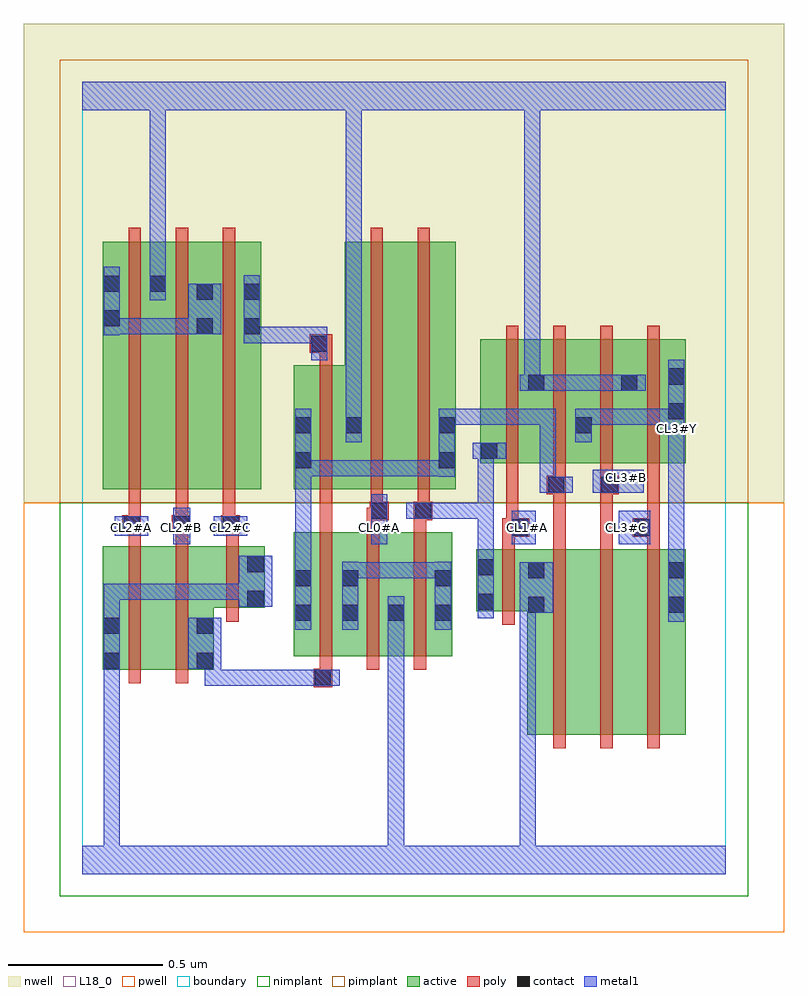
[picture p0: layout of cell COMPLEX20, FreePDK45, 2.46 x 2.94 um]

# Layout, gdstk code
import gdstk
lib = gdstk.Library(unit=1e-6, precision=1e-09)
def R(c, l, rs):  # rectangles x0, y0, x1, y1
    for r in rs: c.add(gdstk.rectangle(r[:2], r[2:], *l))
def A(c, l, x, y, w, h, nx, ny, dx, dy):  # array of equal rectangles
    R(c, l, [(x+i*dx, y+j*dy, x+i*dx+w, y+j*dy+h) for i in range(nx) for j in range(ny)])
active = (1, 0)
pwell = (2, 0)
nwell = (3, 0)
nimplant = (4, 0)
pimplant = (5, 0)
poly = (9, 0)
contact = (10, 0)
metal1 = (11, 0)
L18_0 = (18, 0)
boundary = (235, 0)

complex20 = lib.new_cell('COMPLEX20')
R(complex20, active, [(1.438,0.45,1.498,1.05), (1.438,0.45,1.618,1.05), (1.618,0.45,1.77,1.05), (1.77,0.45,1.95,1.05), (1.89,0.45,1.95,1.05), (0.066,0.66,0.126,1.06), (0.066,0.66,0.246,1.06), (0.246,0.66,0.426,1.06), (0.366,0.66,0.426,0.956), (0.684,0.704,0.744,1.104), (0.684,0.704,0.896,1.104), (0.836,0.704,0.896,1.104), (0.836,0.704,1.044,1.104), (0.984,0.704,1.196,1.104), (0.984,0.704,1.044,0.874), (1.136,0.704,1.196,1.104), (1.274,0.85,1.498,1.05), (1.274,0.85,1.334,1.05), (0.366,0.86,0.59,1.06), (0.53,0.86,0.59,1.06), (0.066,1.244,0.126,2.044), (0.066,1.244,0.274,2.044), (0.214,1.244,0.426,2.044), (0.366,1.244,0.578,2.044), (0.518,1.244,0.578,2.044), (0.684,1.244,0.744,1.644), (0.684,1.244,0.908,1.644), (0.848,1.244,0.908,1.644), (0.848,1.244,1.028,2.044), (1.028,1.244,1.208,2.044), (1.148,1.244,1.208,2.044), (1.286,1.328,1.498,1.728), (1.286,1.328,1.346,1.644), (1.438,1.328,1.65,1.728), (1.59,1.328,1.798,1.728), (1.738,1.328,1.95,1.728), (1.89,1.328,1.95,1.728), (1.59,1.42,1.65,1.728), (1.438,1.558,1.498,1.728), (1.738,1.558,1.798,1.728), (0.214,1.686,0.274,2.044), (0.366,1.686,0.426,2.044)])
R(complex20, pwell, [(-0.188,-0.188,2.268,1.2)])
R(complex20, nwell, [(-0.188,1.2,2.268,2.748)])
R(complex20, nimplant, [(-0.072,-0.072,2.152,1.2)])
R(complex20, pimplant, [(-0.072,1.2,2.152,2.632)])
A(complex20, poly, 1.522, 0.406, 0.04, 0.688, 3, 1, 0.152, 0)
A(complex20, poly, 0.768, 0.66, 0.04, 0.488, 3, 1, 0.152, 0)
A(complex20, poly, 0.13, 1.1, 0.06, 0.06, 3, 1, 0.16, 0)
A(complex20, poly, 0.768, 1.108, 0.04, 0.076, 3, 1, 0.152, 0)
A(complex20, poly, 0.15, 1.12, 0.04, 0.12, 3, 1, 0.152, 0)
A(complex20, poly, 0.15, 1.2, 0.04, 0.888, 3, 1, 0.152, 0)
A(complex20, poly, 1.37, 1.284, 0.04, 0.488, 4, 1, 0.152, 0)
R(complex20, poly, [(0.748,0.604,0.808,0.664), (0.15,0.616,0.19,1.104), (0.302,0.616,0.342,1.104), (0.768,0.624,0.808,0.7), (1.358,0.806,1.398,1.094), (0.466,0.816,0.506,1.104), (1.358,1.054,1.398,1.13), (1.522,1.054,1.562,1.268), (1.674,1.054,1.714,1.268), (1.826,1.054,1.866,1.13), (0.15,1.064,0.19,1.14), (0.302,1.064,0.342,1.14), (0.466,1.064,0.506,1.14), (1.358,1.09,1.444,1.15), (1.78,1.09,1.866,1.15), (0.15,1.1,0.19,1.14), (0.15,1.1,0.19,1.14), (0.302,1.1,0.342,1.14), (0.302,1.1,0.342,1.14), (0.466,1.1,0.506,1.14), (0.466,1.1,0.506,1.14), (1.37,1.11,1.41,1.324), (1.37,1.11,1.41,1.15), (1.37,1.11,1.41,1.15), (1.826,1.11,1.866,1.324), (1.826,1.11,1.866,1.15), (1.826,1.11,1.866,1.15), (0.768,1.144,0.808,1.184), (0.768,1.144,0.808,1.184), (0.768,1.144,0.808,1.184), (0.768,1.144,0.808,1.24), (0.92,1.144,0.97,1.184), (0.93,1.144,0.97,1.184), (0.93,1.144,0.99,1.204), (1.072,1.144,1.132,1.204), (0.932,1.164,0.972,1.24), (1.084,1.164,1.124,1.204), (1.084,1.164,1.124,1.204), (1.084,1.164,1.124,1.24), (0.768,1.2,0.808,1.688), (0.932,1.2,0.972,2.088), (1.084,1.2,1.124,2.088), (1.502,1.228,1.562,1.288), (1.522,1.228,1.562,1.268), (1.522,1.228,1.562,1.268), (1.674,1.228,1.714,1.268), (1.674,1.228,1.714,1.268), (1.674,1.228,1.734,1.288), (1.522,1.248,1.562,1.324), (1.674,1.248,1.714,1.324), (0.768,1.648,0.808,1.724), (0.736,1.684,0.808,1.744)])
A(complex20, contact, 0.134, 1.104, 0.052, 0.052, 3, 1, 0.16, 0)
R(complex20, contact, [(0.752,0.608,0.804,0.66), (0.07,0.664,0.122,0.716), (0.37,0.664,0.422,0.716), (0.07,0.776,0.122,0.828), (0.37,0.776,0.422,0.828), (0.688,0.818,0.74,0.87), (0.84,0.818,0.892,0.87), (0.988,0.818,1.04,0.87), (1.14,0.818,1.192,0.87), (1.442,0.844,1.494,0.896), (1.894,0.844,1.946,0.896), (1.278,0.854,1.33,0.906), (0.534,0.864,0.586,0.916), (0.688,0.93,0.74,0.982), (0.84,0.93,0.892,0.982), (1.14,0.93,1.192,0.982), (1.442,0.956,1.494,1.008), (1.894,0.956,1.946,1.008), (1.278,0.966,1.33,1.018), (0.534,0.976,0.586,1.028), (1.388,1.094,1.44,1.146), (1.784,1.094,1.836,1.146), (0.934,1.148,0.986,1.2), (1.076,1.148,1.128,1.2), (1.506,1.232,1.558,1.284), (1.678,1.232,1.73,1.284), (0.688,1.312,0.74,1.364), (1.152,1.312,1.204,1.364), (1.29,1.342,1.342,1.394), (0.688,1.424,0.74,1.476), (0.852,1.424,0.904,1.476), (1.152,1.424,1.204,1.476), (1.594,1.424,1.646,1.476), (1.894,1.47,1.946,1.522), (1.442,1.562,1.494,1.614), (1.742,1.562,1.794,1.614), (1.894,1.582,1.946,1.634), (0.74,1.688,0.792,1.74), (0.37,1.744,0.422,1.796), (0.522,1.744,0.574,1.796), (0.07,1.77,0.122,1.822), (0.37,1.856,0.422,1.908), (0.522,1.856,0.574,1.908), (0.07,1.882,0.122,1.934), (0.218,1.882,0.27,1.934)])
R(complex20, metal1, [(0,0,2.08,0.092), (0.07,0.04,0.122,0.092), (0.07,0.04,0.122,0.092), (0.07,0.04,0.122,0.092), (0.07,0.04,0.122,0.092), (0.07,0.04,0.122,0.092), (0.07,0.04,0.122,0.092), (0.07,0.04,0.122,0.688), (0.988,0.04,1.04,0.842), (1.414,0.04,1.466,0.092), (1.414,0.04,1.466,0.092), (1.414,0.04,1.466,0.092), (1.414,0.04,1.466,0.092), (1.414,0.04,1.466,0.092), (1.414,0.04,1.466,0.092), (1.414,0.04,1.466,0.896), (0.396,0.608,0.448,0.66), (0.396,0.608,0.448,0.66), (0.396,0.608,0.448,0.66), (0.396,0.608,0.448,0.716), (0.396,0.608,0.584,0.66), (0.532,0.608,0.584,0.66), (0.532,0.608,0.584,0.66), (0.532,0.608,0.584,0.66), (0.532,0.608,0.776,0.66), (0.724,0.608,0.832,0.66), (0.07,0.636,0.122,0.688), (0.07,0.636,0.122,0.688), (0.07,0.636,0.122,0.688), (0.07,0.636,0.122,0.688), (0.07,0.636,0.122,0.688), (0.07,0.636,0.122,0.688), (0.07,0.636,0.122,0.856), (0.342,0.664,0.45,0.828), (0.688,0.79,0.74,1.01), (0.84,0.79,0.892,1.01), (0.988,0.79,1.04,0.842), (0.988,0.79,1.04,0.842), (0.988,0.79,1.04,0.842), (0.988,0.79,1.04,0.842), (0.988,0.79,1.04,0.842), (0.988,0.79,1.04,0.842), (0.988,0.79,1.04,0.842), (0.988,0.79,1.04,0.842), (0.988,0.79,1.04,0.842), (0.988,0.79,1.04,0.842), (0.988,0.79,1.04,0.842), (0.988,0.79,1.04,0.842), (0.988,0.79,1.04,0.898), (1.14,0.79,1.192,1.01), (0.07,0.804,0.122,0.856), (0.07,0.804,0.122,0.856), (0.07,0.804,0.122,0.856), (0.07,0.804,0.122,0.856), (0.07,0.804,0.122,0.938), (1.894,0.816,1.946,1.036), (1.278,0.826,1.33,1.046), (1.414,0.844,1.466,0.896), (1.414,0.844,1.466,0.896), (1.414,0.844,1.522,1.008), (0.506,0.864,0.614,1.028), (0.07,0.886,0.122,0.938), (0.07,0.886,0.122,0.938), (0.07,0.886,0.122,0.938), (0.07,0.886,0.284,0.938), (0.232,0.886,0.284,0.938), (0.232,0.886,0.284,0.938), (0.232,0.886,0.284,0.938), (0.232,0.886,0.394,0.938), (0.342,0.886,0.394,0.938), (0.342,0.886,0.394,0.938), (0.342,0.886,0.394,0.938), (0.342,0.886,0.558,0.938), (0.84,0.956,0.892,1.008), (0.84,0.956,0.892,1.008), (0.84,0.956,1.046,1.008), (0.994,0.956,1.046,1.008), (0.994,0.956,1.046,1.008), (0.994,0.956,1.046,1.008), (0.994,0.956,1.192,1.008), (0.688,0.958,0.74,1.336), (1.894,0.984,1.946,1.438), (1.278,0.994,1.33,1.2), (0.294,1.066,0.35,1.184), (0.934,1.066,0.986,1.228), (1.388,1.066,1.466,1.174), (1.734,1.066,1.836,1.174), (0.106,1.094,0.214,1.156), (0.426,1.094,0.534,1.156), (1.048,1.148,1.156,1.2), (1.104,1.148,1.156,1.2), (1.104,1.148,1.156,1.2), (1.104,1.148,1.33,1.2), (1.278,1.148,1.33,1.2), (1.278,1.148,1.33,1.2), (1.278,1.148,1.33,1.2), (1.278,1.148,1.33,1.394), (1.478,1.232,1.53,1.284), (1.478,1.232,1.53,1.284), (1.478,1.232,1.586,1.284), (1.478,1.232,1.53,1.504), (1.65,1.232,1.814,1.306), (0.688,1.284,0.74,1.336), (0.688,1.284,0.74,1.336), (0.688,1.284,0.74,1.336), (0.688,1.284,0.74,1.336), (0.688,1.284,0.74,1.504), (1.152,1.284,1.204,1.504), (0.688,1.286,0.74,1.338), (0.688,1.286,0.74,1.338), (0.688,1.286,0.93,1.338), (0.878,1.286,0.93,1.338), (0.878,1.286,0.93,1.338), (0.878,1.286,0.93,1.338), (0.878,1.286,1.046,1.338), (0.994,1.286,1.046,1.338), (0.994,1.286,1.046,1.338), (0.994,1.286,1.046,1.338), (0.994,1.286,1.204,1.338), (1.262,1.342,1.37,1.394), (1.894,1.386,1.946,1.494), (0.852,1.396,0.904,1.504), (1.594,1.396,1.646,1.504), (1.894,1.442,1.946,1.494), (1.894,1.442,1.946,1.494), (1.894,1.442,1.946,1.494), (1.894,1.442,1.946,1.662), (0.852,1.452,0.904,2.52), (1.152,1.452,1.204,1.504), (1.152,1.452,1.204,1.504), (1.152,1.452,1.314,1.504), (1.262,1.452,1.314,1.504), (1.262,1.452,1.314,1.504), (1.262,1.452,1.314,1.504), (1.262,1.452,1.53,1.504), (1.478,1.452,1.53,1.504), (1.478,1.452,1.53,1.504), (1.478,1.452,1.53,1.504), (1.594,1.452,1.646,1.504), (1.594,1.452,1.646,1.504), (1.594,1.452,1.836,1.504), (1.784,1.452,1.836,1.504), (1.784,1.452,1.836,1.504), (1.784,1.452,1.836,1.504), (1.784,1.452,1.946,1.504), (1.414,1.562,1.522,1.614), (1.428,1.562,1.48,1.614), (1.428,1.562,1.48,1.614), (1.428,1.562,1.48,1.614), (1.428,1.562,1.48,1.614), (1.428,1.562,1.48,1.614), (1.428,1.562,1.48,1.614), (1.428,1.562,1.48,1.614), (1.428,1.562,1.48,1.614), (1.428,1.562,1.48,1.614), (1.428,1.562,1.48,1.614), (1.428,1.562,1.48,2.52), (1.47,1.562,1.522,1.614), (1.47,1.562,1.522,1.614), (1.47,1.562,1.656,1.614), (1.604,1.562,1.656,1.614), (1.604,1.562,1.656,1.614), (1.604,1.562,1.656,1.614), (1.604,1.562,1.766,1.614), (1.714,1.562,1.822,1.614), (0.74,1.66,0.792,1.768), (0.522,1.716,0.574,1.768), (0.522,1.716,0.574,1.768), (0.522,1.716,0.574,1.936), (0.522,1.716,0.792,1.768), (0.07,1.742,0.122,1.962), (0.07,1.744,0.122,1.796), (0.07,1.744,0.122,1.796), (0.07,1.744,0.232,1.796), (0.18,1.744,0.232,1.796), (0.18,1.744,0.232,1.796), (0.18,1.744,0.232,1.796), (0.18,1.744,0.394,1.796), (0.342,1.744,0.45,1.908), (0.218,1.854,0.27,1.962), (0.218,1.91,0.27,1.962), (0.218,1.91,0.27,1.962), (0.218,1.91,0.27,2.52), (0,2.468,2.08,2.56), (0.218,2.468,0.27,2.52), (0.218,2.468,0.27,2.52), (0.218,2.468,0.27,2.52), (0.218,2.468,0.27,2.52), (0.218,2.468,0.27,2.52), (0.218,2.468,0.27,2.52), (0.852,2.468,0.904,2.52), (0.852,2.468,0.904,2.52), (0.852,2.468,0.904,2.52), (0.852,2.468,0.904,2.52), (0.852,2.468,0.904,2.52), (0.852,2.468,0.904,2.52), (0.852,2.468,0.904,2.52), (0.852,2.468,0.904,2.52), (1.428,2.468,1.48,2.52), (1.428,2.468,1.48,2.52), (1.428,2.468,1.48,2.52), (1.428,2.468,1.48,2.52), (1.428,2.468,1.48,2.52), (1.428,2.468,1.48,2.52)])
A(complex20, L18_0, 0.134, 1.094, 0.052, 0.052, 3, 1, 0.16, 0)
R(complex20, L18_0, [(0,0,2.08,0.092), (0.07,0.04,0.122,0.092), (0.07,0.04,0.122,0.092), (0.07,0.04,0.122,0.092), (0.07,0.04,0.122,0.092), (0.07,0.04,0.122,0.092), (0.07,0.04,0.122,0.092), (0.07,0.04,0.122,0.688), (0.988,0.04,1.04,0.842), (1.414,0.04,1.466,0.092), (1.414,0.04,1.466,0.092), (1.414,0.04,1.466,0.092), (1.414,0.04,1.466,0.092), (1.414,0.04,1.466,0.092), (1.414,0.04,1.466,0.092), (1.414,0.04,1.466,0.896), (0.07,0.636,0.122,0.688), (0.07,0.636,0.122,0.688), (0.07,0.636,0.122,0.688), (0.07,0.636,0.122,0.688), (0.07,0.636,0.122,0.688), (0.07,0.636,0.122,0.688), (0.07,0.636,0.122,0.856), (0.988,0.79,1.04,0.842), (0.988,0.79,1.04,0.842), (0.988,0.79,1.04,0.842), (0.988,0.79,1.04,0.842), (0.988,0.79,1.04,0.842), (0.988,0.79,1.04,0.842), (0.988,0.79,1.04,0.842), (0.988,0.79,1.04,0.842), (0.988,0.79,1.04,0.842), (0.988,0.79,1.04,0.842), (0.988,0.79,1.04,0.842), (0.988,0.79,1.04,0.842), (0.988,0.79,1.04,0.898), (0.07,0.804,0.122,0.856), (0.07,0.804,0.122,0.856), (0.07,0.804,0.122,0.856), (0.07,0.804,0.122,0.856), (0.07,0.804,0.122,0.938), (1.894,0.816,1.946,1.036), (1.414,0.844,1.466,0.896), (1.414,0.844,1.466,0.896), (1.414,0.844,1.522,1.008), (0.506,0.864,0.614,1.028), (0.07,0.886,0.122,0.938), (0.07,0.886,0.122,0.938), (0.07,0.886,0.122,0.938), (0.07,0.886,0.284,0.938), (0.232,0.886,0.284,0.938), (0.232,0.886,0.284,0.938), (0.232,0.886,0.284,0.938), (0.232,0.886,0.394,0.938), (0.342,0.886,0.394,0.938), (0.342,0.886,0.394,0.938), (0.342,0.886,0.394,0.938), (0.342,0.886,0.558,0.938), (1.894,0.984,1.946,1.438), (0.294,1.066,0.35,1.184), (0.934,1.066,0.986,1.228), (1.388,1.066,1.466,1.174), (1.734,1.066,1.836,1.174), (0.106,1.094,0.214,1.156), (0.426,1.094,0.534,1.156), (0.934,1.094,0.986,1.146), (1.414,1.094,1.466,1.146), (1.734,1.094,1.786,1.146), (1.65,1.232,1.814,1.306), (1.734,1.254,1.786,1.306), (1.894,1.386,1.946,1.494), (0.852,1.396,0.904,1.504), (1.594,1.396,1.646,1.504), (1.894,1.414,1.946,1.466), (1.894,1.442,1.946,1.494), (1.894,1.442,1.946,1.494), (1.894,1.442,1.946,1.494), (1.894,1.442,1.946,1.662), (0.852,1.452,0.904,2.52), (1.594,1.452,1.646,1.504), (1.594,1.452,1.646,1.504), (1.594,1.452,1.836,1.504), (1.784,1.452,1.836,1.504), (1.784,1.452,1.836,1.504), (1.784,1.452,1.836,1.504), (1.784,1.452,1.946,1.504), (1.414,1.562,1.522,1.614), (1.428,1.562,1.48,1.614), (1.428,1.562,1.48,1.614), (1.428,1.562,1.48,1.614), (1.428,1.562,1.48,1.614), (1.428,1.562,1.48,1.614), (1.428,1.562,1.48,1.614), (1.428,1.562,1.48,1.614), (1.428,1.562,1.48,1.614), (1.428,1.562,1.48,1.614), (1.428,1.562,1.48,1.614), (1.428,1.562,1.48,2.52), (1.47,1.562,1.522,1.614), (1.47,1.562,1.522,1.614), (1.47,1.562,1.656,1.614), (1.604,1.562,1.656,1.614), (1.604,1.562,1.656,1.614), (1.604,1.562,1.656,1.614), (1.604,1.562,1.766,1.614), (1.714,1.562,1.822,1.614), (0.218,1.854,0.27,1.962), (0.218,1.91,0.27,1.962), (0.218,1.91,0.27,1.962), (0.218,1.91,0.27,2.52), (0,2.468,2.08,2.56), (0.218,2.468,0.27,2.52), (0.218,2.468,0.27,2.52), (0.218,2.468,0.27,2.52), (0.218,2.468,0.27,2.52), (0.218,2.468,0.27,2.52), (0.218,2.468,0.27,2.52), (0.852,2.468,0.904,2.52), (0.852,2.468,0.904,2.52), (0.852,2.468,0.904,2.52), (0.852,2.468,0.904,2.52), (0.852,2.468,0.904,2.52), (0.852,2.468,0.904,2.52), (0.852,2.468,0.904,2.52), (0.852,2.468,0.904,2.52), (1.428,2.468,1.48,2.52), (1.428,2.468,1.48,2.52), (1.428,2.468,1.48,2.52), (1.428,2.468,1.48,2.52), (1.428,2.468,1.48,2.52), (1.428,2.468,1.48,2.52)])
R(complex20, boundary, [(0,0,2.08,2.56)])
complex20.add(gdstk.Label('CL0#A', (0.96,1.12), layer=11, texttype=0))
complex20.add(gdstk.Label('CL1#A', (1.44,1.12), layer=11, texttype=0))
complex20.add(gdstk.Label('CL2#A', (0.16,1.12), layer=11, texttype=0))
complex20.add(gdstk.Label('CL2#B', (0.32,1.12), layer=11, texttype=0))
complex20.add(gdstk.Label('CL2#C', (0.48,1.12), layer=11, texttype=0))
complex20.add(gdstk.Label('CL3#B', (1.76,1.28), layer=11, texttype=0))
complex20.add(gdstk.Label('CL3#C', (1.76,1.12), layer=11, texttype=0))
complex20.add(gdstk.Label('CL3#Y', (1.92,1.44), layer=11, texttype=0))

lib.write_gds('COMPLEX20.gds')
